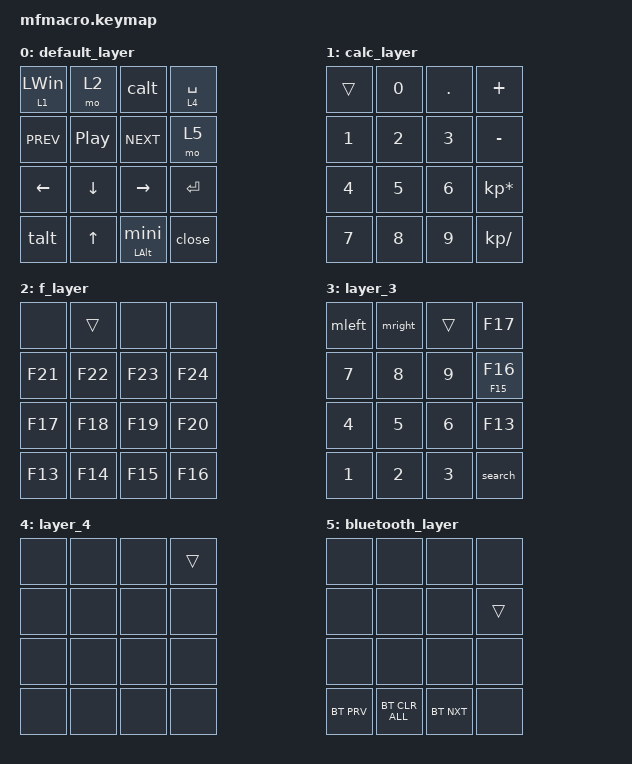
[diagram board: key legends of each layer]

/*
 * Copyright (c) 2020 The ZMK Contributors
 *
 * SPDX-License-Identifier: MIT
 */

#include <behaviors.dtsi>
#include <dt-bindings/zmk/keys.h>
#include <dt-bindings/zmk/bt.h>

/ {
  macros {
        mini: minimize {
            compatible = "zmk,behavior-macro";
            #binding-cells = <0>;
            bindings
                = <&macro_press &kp RALT>
                , <&macro_tap &kp SPACE &kp N>
                , <&macro_release &kp RALT>
                ;
        };
        close: close {
            compatible = "zmk,behavior-macro";
            #binding-cells = <0>;
            bindings
                = <&macro_press &kp RALT>
                , <&macro_tap &kp SPACE &kp C>
                , <&macro_release &kp RALT>
                ;
        };
        term: terminal {
            compatible = "zmk,behavior-macro";
            #binding-cells = <0>;
            bindings
                = <&macro_tap &kp LWIN &kp T &kp E &kp R &kp M &kp I &kp ENTER>
                , <&macro_press &kp LWIN>
                , <&macro_tap &kp UP>
                , <&macro_release &kp LWIN>
                ;
        };
        search: start_viewfind {
            compatible = "zmk,behavior-macro";
            #binding-cells = <0>;
            bindings
                = <&macro_press &kp LCTRL>
                , <&macro_press &kp LSHIFT>
                , <&macro_press &kp LALT>
                , <&macro_tap &kp F14>
                , <&macro_release &kp LCTRL>
                , <&macro_release &kp LSHIFT>
                , <&macro_release &kp LALT>
                ;
        };
        mleft: move_left {
            compatible = "zmk,behavior-macro";
            #binding-cells = <0>;
            bindings
                = <&macro_press &kp LSHIFT>
                , <&macro_press &kp LWIN>
                , <&macro_tap &kp LEFT>
                , <&macro_release &kp LSHIFT>
                , <&macro_release &kp LWIN>
                ;
        };
        mright: move_right {
            compatible = "zmk,behavior-macro";
            #binding-cells = <0>;
            bindings
                = <&macro_press &kp LSHIFT>
                , <&macro_press &kp LWIN>
                , <&macro_tap &kp RIGHT>
                , <&macro_release &kp LSHIFT>
                , <&macro_release &kp LWIN>
                ;
        };
    };
  behaviors {
      calt: alt_shift {
        compatible = "zmk,behavior-mod-morph";
        #binding-cells = <0>;
        bindings = <&mo 3>, <&kp LSHIFT>;
        mods = <(MOD_LALT)>;
        keep-mods = <(MOD_LALT)>;
      };
      talt: alt_tab {
        compatible = "zmk,behavior-mod-morph";
        #binding-cells = <0>;
        bindings = <&kp ESC>, <&kp TAB>;
        mods = <(MOD_LALT)>;
        keep-mods = <(MOD_LALT)>;
      };
      minalt: mini_alt {
        compatible = "zmk,behavior-hold-tap";
        #binding-cells = <2>;
        flavor = "hold-preferred";
        tapping-term-ms = <200>;
        bindings = <&kp>, <&mini>;
        display-name = "Mini Alt";
      };
      leri: left_right {
        compatible = "zmk,behavior-hold-tap";
        #binding-cells = <2>;
        flavor = "hold-preferred";
        tapping-term-ms = <200>;
        bindings = <&kp>, <&kp>;
        display-name = "Left Right";
      };
    };
  keymap {
        compatible = "zmk,keymap";

        default_layer {
// ----------------------------------------
// |   TALT  |   ⬆      |  MINALT   |  CLOSE     |
// |   ⬅     |   ⬇      |   ⮕       |  ENTER     |
// |   PREV  |   PL/PA  |  NEXT     |  MO(5)     |
// |   LT(1) |   MO(2)  |  CALT     |  LT(MO4SP) |
// ----------------------------------------
            bindings = <
                &lt 1 LWIN &mo 2 &calt &lt 4 SPACE
                &kp C_PREV &kp C_PP &kp C_NEXT &mo 5 
                &kp LEFT &kp DOWN &kp RIGHT &kp ENTER
                &talt &kp UP &minalt LALT 0 &close
            >;
        };

        calc_layer {
// ----------------------- #1
// |  7  |  8  |  9  |  /  |
// |  4  |  5  |  6  |  *  |
// |  1  |  2  |  3  |  -  |
// |  T  |  0  |  .  |  +  |
// -----------------------
            bindings = <
                &trans &kp N0 &kp PERIOD &kp PLUS
                &kp N1 &kp N2   &kp N3 &kp MINUS
                &kp N4 &kp N5  &kp N6 &kp KP_MULTIPLY
                &kp N7 &kp N8 &kp N9 &kp KP_DIVIDE
            >;
        };

        f_layer {
// ----------------------- #2
// | F13 | F14 | F15 | F16 |
// | F17 | F18 | F19 | F20 |
// | F21 | F22 | F23 | F24 |
// |     |  T  |     |     |
// -----------------------
            bindings = <
                &none &trans &none &none
                &kp F21 &kp F22 &kp F23 &kp F24
                &kp F17 &kp F18 &kp F19 &kp F20
                &kp F13 &kp F14 &kp F15 &kp F16
            >;
        };
        layer_3 {
// ----------------------- #3
// | 1  | 2  | 3 | SEARCH |
// | 4  | 5  | 6 | F13    |
// | 7  | 8  | 9 | LERI   |
// | ML | MR | T | F17    |
// -----------------------

            bindings = <
                &mleft &mright &trans &kp F17
                &kp N7 &kp N8 &kp N9 &leri F15 F16
                &kp N4 &kp N5 &kp N6 &kp F13
                &kp N1 &kp N2 &kp N3 &search
            >;
        };
        layer_4 {
// ----------------------- #4
// | N/A | N/A | N/A | N/A |
// | N/A | N/A | N/A | N/A |
// | N/A | N/A | N/A | N/A |
// |     |     |     |  T  |
// -----------------------
            bindings = <
                &none &none &none &trans
                &none &none &none &none
                &none &none &none &none
                &none &none &none &none
            >;
        };
        bluetooth_layer {
// ----------------------- #5
// | BT(PREV) | BT(CLEAR) | BT(NXT) | N/A |
// | N/A | N/A | N/A | N/A |
// | N/A | N/A | N/A | T   |
// |     |     |     | N/A |
// -----------------------
            bindings = <
                &none &none &none &none
                &none &none &none &trans
                &none &none &none &none
                &bt BT_PRV &bt BT_CLR_ALL &bt BT_NXT &none
            >;
        };
    };
};

